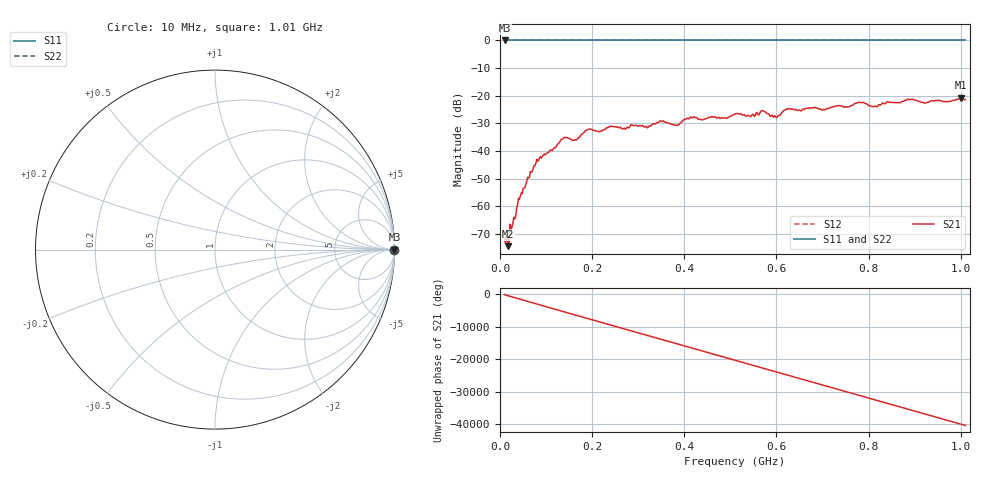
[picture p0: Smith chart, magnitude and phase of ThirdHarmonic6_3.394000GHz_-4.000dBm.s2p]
! 8/17/2025 10:49:19 AM
! C:\ANRITSUVNA\TEMP\TEMP.S2P
! CHANNEL.1
! TR.MEASUREMENT
! RAW.DATA
! RF.CORRECTION.OFF
! AVERAGING.OFF
! IF.BANDWIDTH: 5KHZ
! SWEEPTYPE:  FREQ.SWEEP(Linear)
! Reference Plane Port Info
! PORT:  PORT1  PORT2
! DISTANCE:  0  m  0  m
! TIME:  0  s  0  s
! PHASE.OFFSET:  0  deg.  0  deg.
! LOSS:  0  dB  0  dB
! REF.LOSS:  0  dB  0  dB
! REF.FREQ:  0  Hz  0  Hz
! Power Info
! POWER:  -20  dBm  -20  dBm
! EFF.POWER:  -20  dBm  -20  dBm
! SOURCE.ATTEN:  0  dB  0  dB
! TEST.ATTEN:  0  dB  0  dB
# GHZ S RI R 50.0
! FREQ.GHZ  S11RE  S11IM  S21RE  S21IM  S12RE  S12IM  S22RE  S22IM
!; PortSelection: Port_12
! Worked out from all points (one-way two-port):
!   501 points, 10 MHz to 1.01 GHz, reference 50 ohm
!   highest |S21| = -20.78 dB at 1 GHz (marker M1); lowest = -74.5 dB at 18 MHz (marker M2)
!   lowest |S11| = 0.0 dB at 10 MHz (marker M3)
!   |S11| at or under -10 dB: nowhere
!   |S22| runs from 0.0 to 0.0 dB; largest |S21 - S12| = 1.1
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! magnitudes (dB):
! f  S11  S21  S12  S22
! 10 MHz  0.0  -71.9  0.0  0.0
! 18 MHz  0.0  -74.5  0.0  0.0
! 42 MHz  0.0  -57.6  0.0  0.0
! 82 MHz  0.0  -43.7  0.0  0.0
! 136 MHz  0.0  -35.7  0.0  0.0
! 162 MHz  0.0  -36.1  0.0  0.0
! 178 MHz  0.0  -33.9  0.0  0.0
! 194 MHz  0.0  -32.1  0.0  0.0
! 318 MHz  0.0  -31.4  0.0  0.0
! 344 MHz  0.0  -29.7  0.0  0.0
! 384 MHz  0.0  -30.7  0.0  0.0
! 418 MHz  0.0  -28.1  0.0  0.0
! 510 MHz  0.0  -26.6  0.0  0.0
! 570 MHz  0.0  -25.4  0.0  0.0
! 598 MHz  0.0  -27.6  0.0  0.0
! 624 MHz  0.0  -25.0  0.0  0.0
! 678 MHz  0.0  -24.4  0.0  0.0
! 780 MHz  0.0  -22.4  0.0  0.0
! 814 MHz  0.0  -23.8  0.0  0.0
! 844 MHz  0.0  -22.3  0.0  0.0
! 1 GHz  0.0  -20.8  0.0  0.0
! 1.01 GHz  0.0  -21.4  0.0  0.0
